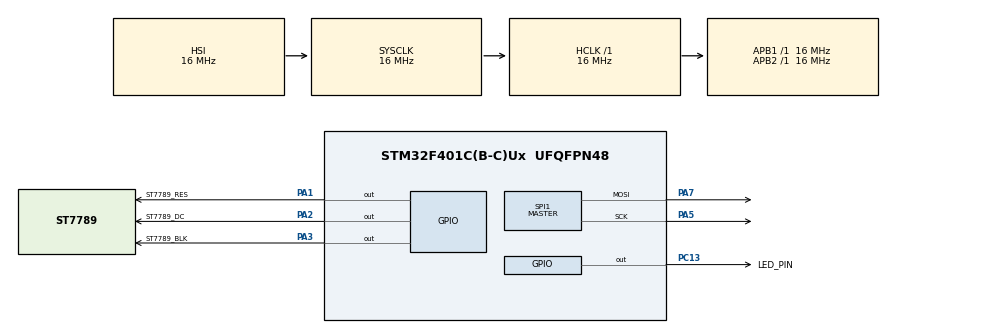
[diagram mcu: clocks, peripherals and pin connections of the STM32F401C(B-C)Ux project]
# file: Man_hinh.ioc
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Mcu.Family=STM32F4
Mcu.Name=STM32F401C(B-C)Ux
Mcu.Package=UFQFPN48
PA1.GPIO_Label=ST7789_RES
PA1.Signal=GPIO_Output
PA2.GPIO_Label=ST7789_DC
PA2.Signal=GPIO_Output
PA3.GPIO_Label=ST7789_BLK
PA3.Signal=GPIO_Output
PA5.Mode=Transmit_Only_Master
PA5.Signal=SPI1_SCK
PA7.Mode=Transmit_Only_Master
PA7.Signal=SPI1_MOSI
PC13.GPIO_Label=LED_PIN
PC13.Signal=GPIO_Output
SPI1.BaudRatePrescaler=SPI_BAUDRATEPRESCALER_2
SPI1.CLKPhase=SPI_PHASE_2EDGE
SPI1.CLKPolarity=SPI_POLARITY_HIGH
SPI1.DataSize=SPI_DATASIZE_8BIT
SPI1.Direction=SPI_DIRECTION_2LINES
SPI1.Mode=SPI_MODE_MASTER
NVIC.PriorityGroup=NVIC_PRIORITYGROUP_4
ProjectManager.HeapSize=0x200
ProjectManager.StackSize=0x400
ProjectManager.TargetToolchain=STM32CubeIDE
RCC.AHBFreq_Value=16000000
RCC.APB1Freq_Value=16000000
RCC.APB2Freq_Value=16000000
RCC.CortexFreq_Value=16000000
RCC.HSE_VALUE=25000000
RCC.HSI_VALUE=16000000
RCC.LSE_VALUE=32768
RCC.SYSCLKFreq_VALUE=16000000
RCC.VCOOutputFreq_Value=192000000
board=custom

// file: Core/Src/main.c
/* USER CODE BEGIN Header */
/**
  ******************************************************************************
  * @file           : main.c
  * @brief          : Main program body
  ******************************************************************************
  * @attention
  *
  * Copyright (c) 2026 STMicroelectronics.
  * All rights reserved.
  *
  * This software is licensed under terms that can be found in the LICENSE file
  * in the root directory of this software component.
  * If no LICENSE file comes with this software, it is provided AS-IS.
  *
  ******************************************************************************
  */
/* USER CODE END Header */
#include "main.h"

/* USER CODE BEGIN Includes */
#include "st7789.h"
#include "fonts.h"
#include <stdio.h>
/* USER CODE END Includes */

/* USER CODE BEGIN PV */
SPI_HandleTypeDef hspi1;
/* USER CODE END PV */

void SystemClock_Config(void);
/* USER CODE BEGIN PFP */
static void MX_GPIO_Init(void);
static void MX_SPI1_Init(void);
/* USER CODE END PFP */

int main(void)
{

  /* MCU Configuration--------------------------------------------------------*/

  /* Reset of all peripherals, Initializes the Flash interface and the Systick. */
  HAL_Init();

  /* Configure the system clock */
  SystemClock_Config();

  /* Initialize all configured peripherals */
  MX_GPIO_Init();
  MX_SPI1_Init();
  /* USER CODE BEGIN 2 */
  /* Khởi tạo màn hình IPS ST7789 */
  ST7789_Init();

  /* Chạy bài test demo toàn diện hiển thị màu sắc, font chữ và hình học */
  ST7789_TestDemo();
  /* USER CODE END 2 */

  /* Infinite loop */
  /* USER CODE BEGIN WHILE */
  uint32_t counter = 0;
  char str_buf[32];
  int16_t box_x = 12;
  int8_t dir = 3;

  while (1)
  {
    /* Cập nhật số đếm chạy liên tục để xác nhận MCU đang hoạt động */
    snprintf(str_buf, sizeof(str_buf), "Uptime: %lu s", (unsigned long)(counter++));
    ST7789_WriteString(18, 140, str_buf, Font_7x10, ST7789_WHITE, ST7789_BLACK);

    /* Hoạt ảnh thanh trượt chuyển động qua lại */
    ST7789_DrawFastHLine(box_x, 195, 25, ST7789_BLACK);
    box_x += dir;
    if (box_x > 200 || box_x < 12)
    {
      dir = -dir;
    }
    ST7789_DrawFastHLine(box_x, 195, 25, ST7789_YELLOW);

    /* Chớp nháy LED PC13 trên mạch Black Pill (0.5s/lần) */
    HAL_GPIO_TogglePin(GPIOC, GPIO_PIN_13);

    HAL_Delay(500);
    /* USER CODE END WHILE */

  }
}

void SystemClock_Config(void)
{
  RCC_OscInitTypeDef RCC_OscInitStruct = {0};
  RCC_ClkInitTypeDef RCC_ClkInitStruct = {0};

  /** Configure the main internal regulator output voltage
  */
  __HAL_RCC_PWR_CLK_ENABLE();
  __HAL_PWR_VOLTAGESCALING_CONFIG(PWR_REGULATOR_VOLTAGE_SCALE2);

  /** Initializes the RCC Oscillators according to the specified parameters
  * in the RCC_OscInitTypeDef structure.
  */
  RCC_OscInitStruct.OscillatorType = RCC_OSCILLATORTYPE_HSI;
  RCC_OscInitStruct.HSIState = RCC_HSI_ON;
  RCC_OscInitStruct.HSICalibrationValue = RCC_HSICALIBRATION_DEFAULT;
  RCC_OscInitStruct.PLL.PLLState = RCC_PLL_NONE;
  if (HAL_RCC_OscConfig(&RCC_OscInitStruct) != HAL_OK)
  {
    Error_Handler();
  }

  /** Initializes the CPU, AHB and APB buses clocks
  */
  RCC_ClkInitStruct.ClockType = RCC_CLOCKTYPE_HCLK|RCC_CLOCKTYPE_SYSCLK
                              |RCC_CLOCKTYPE_PCLK1|RCC_CLOCKTYPE_PCLK2;
  RCC_ClkInitStruct.SYSCLKSource = RCC_SYSCLKSOURCE_HSI;
  RCC_ClkInitStruct.AHBCLKDivider = RCC_SYSCLK_DIV1;
  RCC_ClkInitStruct.APB1CLKDivider = RCC_HCLK_DIV1;
  RCC_ClkInitStruct.APB2CLKDivider = RCC_HCLK_DIV1;

  if (HAL_RCC_ClockConfig(&RCC_ClkInitStruct, FLASH_LATENCY_0) != HAL_OK)
  {
    Error_Handler();
  }
}

/* USER CODE BEGIN 4 */
/**
  * @brief SPI1 Initialization Function
  * @param None
  * @retval None
  */
static void MX_SPI1_Init(void)
{
  GPIO_InitTypeDef GPIO_InitStruct = {0};

  /* Bật Clock cho SPI1 và GPIOA trực tiếp */
  __HAL_RCC_SPI1_CLK_ENABLE();
  __HAL_RCC_GPIOA_CLK_ENABLE();

  /**SPI1 GPIO Configuration
  PA5     ------> SPI1_SCK
  PA7     ------> SPI1_MOSI
  */
  GPIO_InitStruct.Pin = GPIO_PIN_5|GPIO_PIN_7;
  GPIO_InitStruct.Mode = GPIO_MODE_AF_PP;
  GPIO_InitStruct.Pull = GPIO_NOPULL;
  GPIO_InitStruct.Speed = GPIO_SPEED_FREQ_VERY_HIGH;
  GPIO_InitStruct.Alternate = GPIO_AF5_SPI1;
  HAL_GPIO_Init(GPIOA, &GPIO_InitStruct);

  hspi1.Instance = SPI1;
  hspi1.Init.Mode = SPI_MODE_MASTER;
  hspi1.Init.Direction = SPI_DIRECTION_2LINES;
  hspi1.Init.DataSize = SPI_DATASIZE_8BIT;
  hspi1.Init.CLKPolarity = SPI_POLARITY_HIGH;  /* SPI Mode 3: SCK idle HIGH, chuẩn chống lỗi sync cho ST7789 không có chân CS */
  hspi1.Init.CLKPhase = SPI_PHASE_2EDGE;
  hspi1.Init.NSS = SPI_NSS_SOFT;
  hspi1.Init.BaudRatePrescaler = SPI_BAUDRATEPRESCALER_8; /* 2 MHz: Đảm bảo tín hiệu sạch, chống nhiễu dây test */
  hspi1.Init.FirstBit = SPI_FIRSTBIT_MSB;
  hspi1.Init.TIMode = SPI_TIMODE_DISABLE;
  hspi1.Init.CRCCalculation = SPI_CRCCALCULATION_DISABLE;
  hspi1.Init.CRCPolynomial = 10;
  if (HAL_SPI_Init(&hspi1) != HAL_OK)
  {
    Error_Handler();
  }
}

/**
  * @brief GPIO Initialization Function
  * @param None
  * @retval None
  */
static void MX_GPIO_Init(void)
{
  GPIO_InitTypeDef GPIO_InitStruct = {0};

  /* Bật Clock cho các Port GPIO */
  __HAL_RCC_GPIOC_CLK_ENABLE();
  __HAL_RCC_GPIOH_CLK_ENABLE();
  __HAL_RCC_GPIOA_CLK_ENABLE();

  /* Thiết lập mức logic mặc định */
  HAL_GPIO_WritePin(GPIOC, GPIO_PIN_13, GPIO_PIN_SET); /* LED trên Black Pill tắt (Active Low) */
  HAL_GPIO_WritePin(GPIOA, GPIO_PIN_2, GPIO_PIN_SET);   /* PA2 (Dây Vàng - RES) mặc định HIGH (không reset) */
  HAL_GPIO_WritePin(GPIOA, GPIO_PIN_3, GPIO_PIN_RESET); /* PA3 (Dây Cam - DC) mặc định LOW (Lệnh) */
  HAL_GPIO_WritePin(GPIOA, GPIO_PIN_1, GPIO_PIN_SET);   /* PA1 dự phòng mức HIGH */

  /* Cấu hình chân PC13: LED tích hợp trên board Black Pill */
  GPIO_InitStruct.Pin = GPIO_PIN_13;
  GPIO_InitStruct.Mode = GPIO_MODE_OUTPUT_PP;
  GPIO_InitStruct.Pull = GPIO_NOPULL;
  GPIO_InitStruct.Speed = GPIO_SPEED_FREQ_LOW;
  HAL_GPIO_Init(GPIOC, &GPIO_InitStruct);

  /* Cấu hình chân PA1, PA2 (RES), PA3 (DC) điều khiển màn hình ST7789 */
  GPIO_InitStruct.Pin = GPIO_PIN_1|GPIO_PIN_2|GPIO_PIN_3;
  GPIO_InitStruct.Mode = GPIO_MODE_OUTPUT_PP;
  GPIO_InitStruct.Pull = GPIO_NOPULL;
  GPIO_InitStruct.Speed = GPIO_SPEED_FREQ_VERY_HIGH;
  HAL_GPIO_Init(GPIOA, &GPIO_InitStruct);
}
/* USER CODE END 4 */

void Error_Handler(void)
{
  __disable_irq();
  while (1)
  {
  }
}
